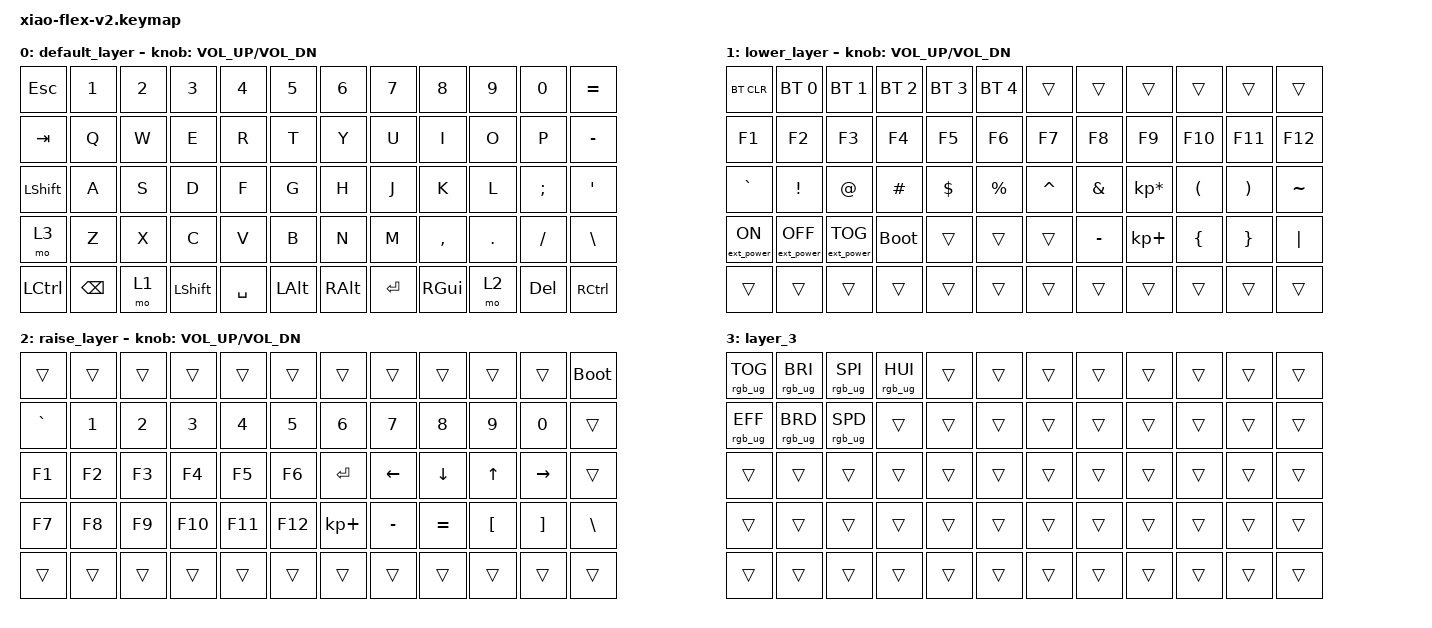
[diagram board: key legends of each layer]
/*
 * Copyright (c) 2020 The ZMK Contributors
 *
 * SPDX-License-Identifier: MIT
 */

#include <behaviors.dtsi>
#include <dt-bindings/zmk/bt.h>
#include <dt-bindings/zmk/ext_power.h>
#include <dt-bindings/zmk/keys.h>
#include <dt-bindings/zmk/rgb.h>

/ {
    keymap {
        compatible = "zmk,keymap";

        default_layer {
            // ------------------------------------------------------------------------------------------------------------
            // |  ESC   |  1  |  2  |  3   |  4   |  5   |                    |  6   |  7    |  8    |  9   |   0   |   `   |
            // |  TAB   |  Q  |  W  |  E   |  R   |  T   |                    |  Y   |  U    |  I    |  O   |   P   |   -   |
            // |  CTRL  |  A  |  S  |  D   |  F   |  G   |                    |  H   |  J    |  K    |  L   |   ;   |   '   |
            // | SHIFT  |  Z  |  X  |  C   |  V   |  B   |                    |  N   |  M    |  ,    |  .   |   /   | SHIFT |
            // |    2   |  2  | f   | 6    | 4    | 1    |                    | 2    | 1     | w     | s    | n     |  a    |

            bindings = <
&kp ESC    &kp N1    &kp N2  &kp N3     &kp N4     &kp N5    &kp N6    &kp N7   &kp N8     &kp N9   &kp N0    &kp EQUAL
&kp TAB    &kp Q     &kp W   &kp E      &kp R      &kp T     &kp Y     &kp U    &kp I      &kp O    &kp P     &kp MINUS
&kp LSHFT  &kp A     &kp S   &kp D      &kp F      &kp G     &kp H     &kp J    &kp K      &kp L    &kp SEMI  &kp SQT
&mo 3      &kp Z     &kp X   &kp C      &kp V      &kp B     &kp N     &kp M    &kp COMMA  &kp DOT  &kp FSLH  &kp BSLH
&kp LCTRL  &kp BSPC  &mo 1   &kp LSHFT  &kp SPACE  &kp LALT  &kp RALT  &kp RET  &kp RGUI   &mo 2    &kp DEL   &kp RCTRL
            >;

            sensor-bindings = <&inc_dec_kp C_VOL_UP C_VOL_DN>;
        };

        lower_layer {
            // ------------------------------------------------------------------------------------------------------------
            // | BTCLR | BT1 | BT2 |  BT3 |  BT4 |  BT5 |                   |      |       |       |      |       |       |
            // |  F1   |  F2 |  F3 |  F4  |  F5  |  F6  |                   |  F7  |  F8   |  F9   |  F10 |  F11  |  F12  |
            // |   `   |  !  |  @  |  #   |  $   |  %   |                   |  ^   |  &    |  *    |  (   |   )   |   ~   |
            // |       |     |     |      |      |      |                   |      |  _    |  +    |  {   |   }   |  "|"  |
            // |       |     |     |      |      |      |                   |      |       |       |      |       |       |

            bindings = <
&bt BT_CLR        &bt BT_SEL 0       &bt BT_SEL 1       &bt BT_SEL 2  &bt BT_SEL 3  &bt BT_SEL 4  &trans     &trans     &trans           &trans    &trans    &trans
&kp F1            &kp F2             &kp F3             &kp F4        &kp F5        &kp F6        &kp F7     &kp F8     &kp F9           &kp F10   &kp F11   &kp F12
&kp GRAVE         &kp EXCL           &kp AT             &kp HASH      &kp DOLLAR    &kp PRCNT     &kp CARET  &kp AMPS   &kp KP_MULTIPLY  &kp LPAR  &kp RPAR  &kp TILDE
&ext_power EP_ON  &ext_power EP_OFF  &ext_power EP_TOG  &bootloader   &trans        &trans        &trans     &kp MINUS  &kp KP_PLUS      &kp LBRC  &kp RBRC  &kp PIPE
&trans            &trans             &trans             &trans        &trans        &trans        &trans     &trans     &trans           &trans    &trans    &trans
            >;

            sensor-bindings = <&inc_dec_kp C_VOL_UP C_VOL_DN>;
        };

        raise_layer {
            // ------------------------------------------------------------------------------------------------------------
            // |       |     |     |      |      |      |                   |      |       |       |      |       |       |
            // |   `   |  1  |  2  |  3   |  4   |  5   |                   |  6   |   7   |   8   |  9   |   0   |       |
            // |   F1  |  F2 |  F3 |  F4  |  F5  |  F6  |                   |      |   <-  |   v   |  ^   |  ->   |       |
            // |   F7  |  F8 |  F9 |  F10 |  F11 |  F12 |		             |  +   |   -   |   =   |  [   |   ]   |   \   |
            // |     |     |      |      |      |        |                   |       |      |       |       |      |       |

            bindings = <
&trans     &trans  &trans  &trans   &trans   &trans   &trans       &trans     &trans     &trans    &trans     &bootloader
&kp GRAVE  &kp N1  &kp N2  &kp N3   &kp N4   &kp N5   &kp N6       &kp N7     &kp N8     &kp N9    &kp N0     &trans
&kp F1     &kp F2  &kp F3  &kp F4   &kp F5   &kp F6   &kp RET      &kp LEFT   &kp DOWN   &kp UP    &kp RIGHT  &trans
&kp F7     &kp F8  &kp F9  &kp F10  &kp F11  &kp F12  &kp KP_PLUS  &kp MINUS  &kp EQUAL  &kp LBKT  &kp RBKT   &kp BSLH
&trans     &trans  &trans  &trans   &trans   &trans   &trans       &trans     &trans     &trans    &trans     &trans
            >;

            sensor-bindings = <&inc_dec_kp C_VOL_UP C_VOL_DN>;
        };

        layer_3 {
            bindings = <
&rgb_ug RGB_TOG  &rgb_ug RGB_BRI  &rgb_ug RGB_SPI  &rgb_ug RGB_HUI  &trans  &trans  &trans  &trans  &trans  &trans  &trans  &trans
&rgb_ug RGB_EFF  &rgb_ug RGB_BRD  &rgb_ug RGB_SPD  &trans           &trans  &trans  &trans  &trans  &trans  &trans  &trans  &trans
&trans           &trans           &trans           &trans           &trans  &trans  &trans  &trans  &trans  &trans  &trans  &trans
&trans           &trans           &trans           &trans           &trans  &trans  &trans  &trans  &trans  &trans  &trans  &trans
&trans           &trans           &trans           &trans           &trans  &trans  &trans  &trans  &trans  &trans  &trans  &trans
            >;
        };
    };
};
